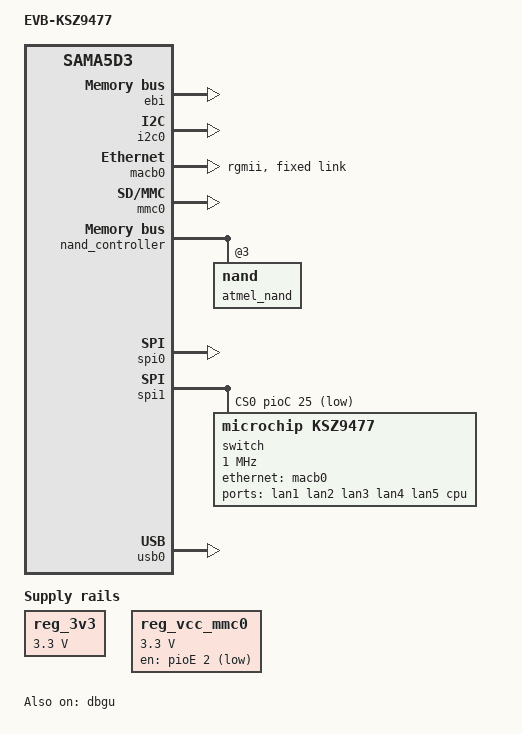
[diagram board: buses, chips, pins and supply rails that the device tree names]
// SPDX-License-Identifier: GPL-2.0-or-later OR MIT
/*
 * Copyright (c) 2021 Oleksij Rempel <kernel@pengutronix.de>, Pengutronix
 */
/dts-v1/;
#include "sama5d36.dtsi"

/ {
	model = "EVB-KSZ9477";
	compatible = "microchip,sama5d3-ksz9477-evb", "atmel,sama5d36",
		     "atmel,sama5d3", "atmel,sama5";

	chosen {
		stdout-path = &dbgu;
	};

	reg_3v3: regulator-3v3 {
		compatible = "regulator-fixed";
		regulator-name = "3v3";
		regulator-min-microvolt = <3300000>;
		regulator-max-microvolt = <3300000>;
	};

	reg_vcc_mmc0: regulator-mmc0 {
		compatible = "regulator-fixed";
		pinctrl-names = "default";
		pinctrl-0 = <&pinctrl_mcc0_vcc>;
		regulator-name = "mmc0-vcc";
		regulator-max-microvolt = <3300000>;
		regulator-min-microvolt = <3300000>;
		gpio = <&pioE 2 GPIO_ACTIVE_LOW>;
	};
};

&dbgu {
	status = "okay";
};

&ebi {
	pinctrl-0 = <&pinctrl_ebi_nand_addr>;
	pinctrl-names = "default";
	status = "okay";
};

&i2c0 {
	pinctrl-0 = <&pinctrl_i2c0_pu>;
	status = "okay";
};

&macb0 {
	phy-mode = "rgmii";
	status = "okay";

	fixed-link {
		speed = <1000>;
		full-duplex;
	};
};

&main_xtal {
	clock-frequency = <12000000>;
};

&mmc0 {
	pinctrl-0 = <&pinctrl_mmc0_clk_cmd_dat0 &pinctrl_mmc0_dat1_3
		     &pinctrl_mmc0_dat4_7 &pinctrl_mmc0_cd>;
	status = "okay";

	slot@0 {
		reg = <0>;
		bus-width = <8>;
		cd-gpios = <&pioE 0 GPIO_ACTIVE_LOW>;
		disable-wp;
		vmmc-supply = <&reg_vcc_mmc0>;
		vqmmc-supply = <&reg_3v3>;
	};
};

&nand_controller {
	status = "okay";

	nand@3 {
		reg = <0x3 0x0 0x2>;
		atmel,rb = <0>;
		nand-bus-width = <8>;
		nand-ecc-mode = "hw";
		nand-ecc-strength = <4>;
		nand-ecc-step-size = <512>;
		nand-on-flash-bbt;
		label = "atmel_nand";
	};
};

&slow_xtal {
	clock-frequency = <32768>;
};

&spi0 {
	cs-gpios = <&pioD 13 GPIO_ACTIVE_LOW>, <0>, <0>,
		   <&pioD 16 GPIO_ACTIVE_LOW>;
	status = "okay";
};

&spi1 {
	pinctrl-0 = <&pinctrl_spi_ksz>;
	cs-gpios = <&pioC 25 GPIO_ACTIVE_LOW>;
	status = "okay";

	switch@0 {
		compatible = "microchip,ksz9477";
		reg = <0>;
		spi-max-frequency = <1000000>;
		spi-cpha;
		spi-cpol;

		ports {
			#address-cells = <1>;
			#size-cells = <0>;

			port@0 {
				reg = <0>;
				label = "lan1";
			};

			port@1 {
				reg = <1>;
				label = "lan2";
			};

			port@2 {
				reg = <2>;
				label = "lan3";
			};

			port@3 {
				reg = <3>;
				label = "lan4";
			};

			port@4 {
				reg = <4>;
				label = "lan5";
			};

			port@5 {
				reg = <5>;
				label = "cpu";
				ethernet = <&macb0>;
				phy-mode = "rgmii-txid";

				fixed-link {
					speed = <1000>;
					full-duplex;
				};
			};
		};
	};
};

&usb0 {
	pinctrl-names = "default";
	pinctrl-0 = <&pinctrl_usba_vbus>;
	atmel,vbus-gpio = <&pioE 9 GPIO_ACTIVE_HIGH>;
	status = "okay";
};

&pinctrl {
	board {
		pinctrl_i2c0_pu: i2c0-pu {
			atmel,pins =
				<AT91_PIOA 30 AT91_PERIPH_A AT91_PINCTRL_PULL_UP>,
				<AT91_PIOA 31 AT91_PERIPH_A AT91_PINCTRL_PULL_UP>;
		};

		pinctrl_mmc0_cd: mmc0-cd {
			atmel,pins = <AT91_PIOE 0 AT91_PERIPH_GPIO AT91_PINCTRL_NONE>;
		};

		pinctrl_mcc0_vcc: mmc0-vcc {
			atmel,pins = <AT91_PIOE 2 AT91_PERIPH_GPIO AT91_PINCTRL_NONE>;
		};

		pinctrl_spi_ksz: spi-ksz {
			atmel,pins =
				<
				/* SPI1_MISO */
				AT91_PIOC 22 AT91_PERIPH_A AT91_PINCTRL_PULL_UP
				/* SPI1_MOSI */
				AT91_PIOC 23 AT91_PERIPH_A AT91_PINCTRL_NONE
				/* SPI1_SPCK */
				AT91_PIOC 24 AT91_PERIPH_A AT91_PINCTRL_NONE

				/* SPI CS */
				AT91_PIOC 25 AT91_PERIPH_GPIO AT91_PINCTRL_NONE
				/* switch IRQ */
				AT91_PIOB 28 AT91_PERIPH_GPIO AT91_PINCTRL_DEGLITCH
				/* switch PME_N, SoC IN */
				AT91_PIOC 30 AT91_PERIPH_GPIO AT91_PINCTRL_PULL_UP
				/* switch RST */
				AT91_PIOC 31 AT91_PERIPH_GPIO AT91_PINCTRL_PULL_UP_DEGLITCH
				>;
		};

		pinctrl_usba_vbus: usba-vbus {
			atmel,pins =
				<AT91_PIOE 9 AT91_PERIPH_GPIO AT91_PINCTRL_DEGLITCH>;
		};
	};
};
